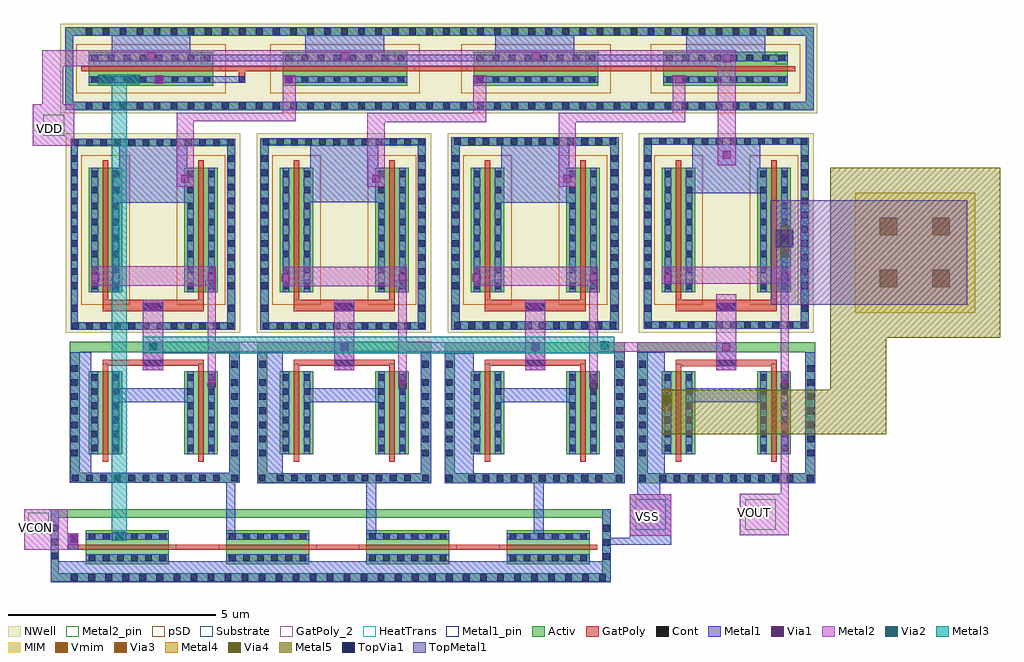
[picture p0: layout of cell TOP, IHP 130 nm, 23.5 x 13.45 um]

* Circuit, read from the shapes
.subckt TOP VCON VDD VOUT VSS
XM1 n1 VCON VSS VSS sg13_lv_nmos w=2u l=0.13u
XM2 n2 n3 VSS VSS sg13_lv_nmos w=2u l=0.13u
XM3 n4 n3 n2 VSS sg13_lv_nmos w=2u l=0.13u
XM4 VSS VCON VSS VSS sg13_lv_nmos w=2u l=0.13u m=3
XM5 n5 n4 VSS VSS sg13_lv_nmos w=2u l=0.13u
XM6 n6 n4 n5 VSS sg13_lv_nmos w=2u l=0.13u
XM7 n7 n6 VSS VSS sg13_lv_nmos w=2u l=0.13u
XM8 n3 n6 n7 VSS sg13_lv_nmos w=2u l=0.13u
XM9 n8 n3 VSS VSS sg13_lv_nmos w=2u l=0.13u
XM10 VOUT n3 n8 VSS sg13_lv_nmos w=2u l=0.13u
XM11 VDD n1 n1 VDD sg13_lv_pmos w=3u l=0.13u
XM12 n9 n3 n4 n9 sg13_lv_pmos w=3u l=0.13u m=2
XM13 VDD n1 n9 VDD sg13_lv_pmos w=3u l=0.13u
XM14 n10 n4 n6 n10 sg13_lv_pmos w=3u l=0.13u m=2
XM15 VDD n1 n10 VDD sg13_lv_pmos w=3u l=0.13u
XM16 n11 n6 n3 n11 sg13_lv_pmos w=3u l=0.13u m=2
XM17 VDD n1 n11 VDD sg13_lv_pmos w=3u l=0.13u
XM18 VDD n3 VOUT VDD sg13_lv_pmos w=3u l=0.13u m=2
XC19 VOUT VSS cap_cmim w=2.89u l=2.89u
.ends

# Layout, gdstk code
from math import pi, radians
import gdstk
lib = gdstk.Library(unit=1e-6, precision=5e-09)
def R(c, l, rs):  # rectangles x0, y0, x1, y1
    for r in rs: c.add(gdstk.rectangle(r[:2], r[2:], *l))
def A(c, l, x, y, w, h, nx, ny, dx, dy):  # array of equal rectangles
    R(c, l, [(x+i*dx, y+j*dy, x+i*dx+w, y+j*dy+h) for i in range(nx) for j in range(ny)])
def P(c, l, *ps):  # polygons
    for p in ps: c.add(gdstk.Polygon(p, *l))
Activ = (1, 0)
GatPoly = (5, 0)
GatPoly_2 = (5, 2)
Cont = (6, 0)
Metal1 = (8, 0)
Metal1_pin = (8, 2)
Metal2 = (10, 0)
Metal2_pin = (10, 2)
pSD = (14, 0)
Via1 = (19, 0)
Via2 = (29, 0)
Metal3 = (30, 0)
NWell = (31, 0)
MIM = (36, 0)
Substrate = (40, 0)
Via3 = (49, 0)
Metal4 = (50, 0)
HeatTrans = (51, 0)
Via4 = (66, 0)
Metal5 = (67, 0)
TopVia1 = (125, 0)
TopMetal1 = (126, 0)
Vmim = (129, 0)

pmos_1 = lib.new_cell('pmos$1')
R(pmos_1, Activ, [(0,0,0.3,0.3), (0,0,0.81,3), (0.51,0,0.81,0.3)])
R(pmos_1, GatPoly, [(0.34,-0.18,0.47,3.18), (0.34,-0.18,0.47,3.18)])
A(pmos_1, Cont, 0.07, 0.07, 0.16, 0.16, 1, 7, 0, 0.385)
A(pmos_1, Cont, 0.58, 0.07, 0.16, 0.16, 1, 7, 0, 0.385)
R(pmos_1, Cont, [(0.07,2.77,0.23,2.93), (0.58,2.77,0.74,2.93)])
R(pmos_1, Metal1, [(0.07,0,0.23,3), (0.07,0,0.23,3), (0.58,0,0.74,3), (0.58,0,0.74,3)])
R(pmos_1, pSD, [(-0.18,-0.3,0.99,3.3)])
R(pmos_1, NWell, [(-0.31,-0.31,1.12,3.31)])
R(pmos_1, Substrate, [(0.51,0,0.81,0.3)])
R(pmos_1, HeatTrans, [(0.34,-0.18,0.47,3.18)])
pmos_1.add(gdstk.Label('pmos', (0.405,1.5), layer=63, texttype=0))
pmos_1.add(gdstk.Label('pmos', (0.405,1.5), layer=51, texttype=0))

nmos_1 = lib.new_cell('nmos$1')
R(nmos_1, Activ, [(0,0,0.3,0.3), (0,0,0.81,2), (0.51,0,0.81,0.3)])
R(nmos_1, GatPoly, [(0.34,-0.18,0.47,2.18)])
R(nmos_1, GatPoly_2, [(0.34,-0.18,0.47,2.18)])
A(nmos_1, Cont, 0.07, 0.07, 0.16, 0.16, 1, 6, 0, 0.34)
A(nmos_1, Cont, 0.58, 0.07, 0.16, 0.16, 1, 6, 0, 0.34)
R(nmos_1, Metal1, [(0.07,0,0.23,2), (0.58,0,0.74,2)])
R(nmos_1, Metal1_pin, [(0.07,0,0.23,2), (0.58,0,0.74,2)])
R(nmos_1, HeatTrans, [(0.34,-0.18,0.47,2.18)])
nmos_1.add(gdstk.Label('nmos', (0.405,1), layer=63, texttype=0))
nmos_1.add(gdstk.Label('nmos', (0.405,1), layer=51, texttype=0))

cmim_1 = lib.new_cell('cmim$1')
R(cmim_1, MIM, [(0,0,2.89,2.89)])
R(cmim_1, Metal5, [(-0.6,-0.6,3.49,3.49)])
R(cmim_1, TopMetal1, [(0.18,0.18,2.7,2.7)])
R(cmim_1, Vmim, [(0.6,0.6,1.02,1.02), (1.86,0.6,2.28,1.02), (0.6,1.86,1.02,2.28), (1.86,1.86,2.28,2.28)])

top = lib.new_cell('TOP')
R(top, Activ, [(-0.785,-1.205,12.7,-0.99), (-0.785,-0.99,-0.585,0.55), (12.5,-0.99,12.7,0.55), (-0.585,0.35,12.5,0.55), (8.7,1.175,8.945,4.575), (8.945,1.175,13.035,1.42), (13.345,1.18,17.63,1.425), (4.19,1.185,8.375,1.425), (-0.325,1.19,3.765,1.435), (12.79,1.42,13.035,4.35), (4.19,1.425,4.435,4.345), (8.13,1.425,8.375,4.345), (13.345,1.425,13.59,4.34), (17.385,1.425,17.63,4.34), (-0.325,1.435,-0.08,4.34), (3.515,1.435,3.765,4.345), (8.945,4.305,13.035,4.575), (-0.325,4.34,3.765,4.585), (13.345,4.34,17.63,4.58), (4.19,4.345,8.375,4.585), (-0.295,4.88,-0.125,9.475), (-0.125,4.88,3.495,5.05), (3.47,4.88,3.66,9.3), (4.26,4.88,4.465,9.48), (4.465,4.88,8.05,5.055), (8.05,4.88,8.25,9.33), (8.86,4.88,9.07,9.51), (9.07,4.88,12.895,5.085), (13.5,4.9,13.69,9.5), (13.69,4.9,17.28,5.075), (17.28,4.9,17.465,9.325), (12.69,5.085,12.895,9.31), (-0.135,9.3,3.66,9.475), (4.465,9.305,8.245,9.48), (9.07,9.31,12.895,9.51), (13.67,9.325,17.465,9.5), (17.395,10.165,17.595,12.155), (-0.435,10.17,-0.235,11.955), (-0.235,10.17,17.395,10.37), (-0.435,11.955,17.395,12.155)])
A(top, GatPoly, 0.47, 4.005, 2.43, 0.15, 3, 1, 4.6, 0)
A(top, GatPoly, 0.47, 5.325, 2.43, 0.275, 4, 1, 4.6, 0)
R(top, GatPoly, [(-0.37,-0.425,-0.115,-0.02), (2.245,-0.425,3.26,-0.295), (5.62,-0.425,6.635,-0.295), (8.995,-0.425,10.015,-0.295), (14.27,4,16.7,4.155), (3.75,10.825,3.9,11.095), (3.31,11.095,4.62,11.225), (7.98,11.095,9.22,11.225), (12.58,11.095,13.79,11.225)])
A(top, Cont, 0.125, -1.165, 0.16, 0.16, 31, 1, 0.41, 0)
A(top, Cont, 9.275, 1.22, 0.16, 0.16, 10, 1, 0.34, 0)
A(top, Cont, 13.875, 1.22, 0.16, 0.16, 10, 1, 0.34, 0)
A(top, Cont, -0.27, 1.225, 0.16, 0.16, 11, 1, 0.34, 0)
A(top, Cont, 4.665, 1.23, 0.16, 0.16, 10, 1, 0.34, 0)
A(top, Cont, -0.29, 1.825, 0.16, 0.16, 1, 7, 0, 0.34)
A(top, Cont, 3.56, 1.825, 0.16, 0.16, 1, 6, 0, 0.34)
A(top, Cont, 8.74, 1.825, 0.16, 0.16, 1, 6, 0, 0.34)
A(top, Cont, 12.84, 1.825, 0.16, 0.16, 1, 6, 0, 0.34)
A(top, Cont, 1.44, 4, 0.49, 0.155, 4, 1, 4.6, 0)
A(top, Cont, -0.27, 4.885, 0.16, 0.16, 12, 2, 0.34, 4.425)
A(top, Cont, 4.325, 4.89, 0.16, 0.16, 11, 1, 0.34, 0)
A(top, Cont, 8.935, 4.905, 0.16, 0.16, 12, 2, 0.34, 4.425)
A(top, Cont, 13.875, 4.905, 0.16, 0.16, 11, 1, 0.34, 0)
A(top, Cont, 1.44, 5.325, 0.49, 0.2, 4, 1, 4.6, 0)
A(top, Cont, -0.29, 5.855, 0.16, 0.16, 1, 10, 0, 0.34)
A(top, Cont, 3.485, 5.855, 0.16, 0.16, 1, 10, 0, 0.34)
A(top, Cont, 8.89, 5.855, 0.16, 0.16, 1, 10, 0, 0.34)
A(top, Cont, 12.715, 5.855, 0.16, 0.16, 1, 10, 0, 0.34)
A(top, Cont, 4.325, 9.315, 0.16, 0.16, 12, 1, 0.34, 0)
A(top, Cont, 13.535, 9.33, 0.16, 0.16, 12, 1, 0.34, 0)
A(top, Cont, 0.06, 10.2, 0.16, 0.16, 42, 2, 0.41, 1.775)
R(top, Cont, [(-0.295,-1.17,-0.135,-1.01), (12.52,-0.665,12.68,-0.505), (12.52,-0.665,12.68,-0.505), (-0.765,-0.655,-0.605,-0.495), (-0.765,-0.655,-0.605,-0.495), (12.52,-0.325,12.68,-0.165), (12.52,-0.325,12.68,-0.165), (-0.765,-0.315,-0.605,-0.155), (-0.765,-0.315,-0.605,-0.155), (-0.315,-0.255,-0.125,-0.065), (12.52,0.015,12.68,0.175), (12.52,0.015,12.68,0.175), (-0.765,0.025,-0.605,0.185), (-0.765,0.025,-0.605,0.185), (8.735,1.22,8.895,1.38), (12.825,1.22,12.985,1.38), (13.385,1.22,13.545,1.38), (17.425,1.22,17.585,1.38), (3.57,1.225,3.73,1.385), (4.225,1.23,4.385,1.39), (8.165,1.23,8.325,1.39), (4.235,1.825,4.395,1.985), (4.235,1.825,4.395,1.985), (8.16,1.825,8.32,1.985), (8.16,1.825,8.32,1.985), (13.39,1.825,13.55,1.985), (13.39,1.825,13.55,1.985), (17.44,1.825,17.6,1.985), (17.44,1.825,17.6,1.985), (4.235,2.165,4.395,2.325), (4.235,2.165,4.395,2.325), (8.16,2.165,8.32,2.325), (8.16,2.165,8.32,2.325), (13.39,2.165,13.55,2.325), (13.39,2.165,13.55,2.325), (17.44,2.165,17.6,2.325), (17.44,2.165,17.6,2.325), (4.235,2.505,4.395,2.665), (4.235,2.505,4.395,2.665), (8.16,2.505,8.32,2.665), (8.16,2.505,8.32,2.665), (13.39,2.505,13.55,2.665), (13.39,2.505,13.55,2.665), (17.44,2.505,17.6,2.665), (17.44,2.505,17.6,2.665), (4.235,2.845,4.395,3.005), (4.235,2.845,4.395,3.005), (8.16,2.845,8.32,3.005), (8.16,2.845,8.32,3.005), (13.39,2.845,13.55,3.005), (13.39,2.845,13.55,3.005), (17.44,2.845,17.6,3.005), (17.44,2.845,17.6,3.005), (4.235,3.185,4.395,3.345), (4.235,3.185,4.395,3.345), (8.16,3.185,8.32,3.345), (8.16,3.185,8.32,3.345), (13.39,3.185,13.55,3.345), (13.39,3.185,13.55,3.345), (17.44,3.185,17.6,3.345), (17.44,3.185,17.6,3.345), (4.235,3.525,4.395,3.685), (4.235,3.525,4.395,3.685), (8.16,3.525,8.32,3.685), (8.16,3.525,8.32,3.685), (13.39,3.525,13.55,3.685), (13.39,3.525,13.55,3.685), (17.44,3.525,17.6,3.685), (17.44,3.525,17.6,3.685), (17.44,3.865,17.6,4.025), (17.44,3.865,17.6,4.025), (3.56,3.965,3.72,4.125), (4.235,3.965,4.395,4.125), (4.235,3.965,4.395,4.125), (8.16,3.965,8.32,4.125), (8.16,3.965,8.32,4.125), (8.74,3.965,8.9,4.125), (12.84,3.965,13,4.125), (13.39,3.965,13.55,4.125), (13.39,3.965,13.55,4.125), (8.065,4.89,8.23,5.05), (13.535,4.905,13.695,5.07), (-0.29,5.315,-0.13,5.475), (3.485,5.315,3.645,5.475), (4.285,5.315,4.445,5.475), (4.285,5.315,4.445,5.475), (8.06,5.315,8.22,5.475), (8.06,5.315,8.22,5.475), (8.89,5.315,9.05,5.475), (12.715,5.315,12.875,5.475), (13.515,5.315,13.675,5.475), (13.515,5.315,13.675,5.475), (17.29,5.315,17.45,5.475), (17.29,5.315,17.45,5.475), (4.285,5.855,4.445,6.015), (4.285,5.855,4.445,6.015), (8.06,5.855,8.22,6.015), (8.06,5.855,8.22,6.015), (13.515,5.855,13.675,6.015), (13.515,5.855,13.675,6.015), (17.29,5.855,17.45,6.015), (17.29,5.855,17.45,6.015), (4.285,6.195,4.445,6.355), (4.285,6.195,4.445,6.355), (8.06,6.195,8.22,6.355), (8.06,6.195,8.22,6.355), (13.515,6.195,13.675,6.355), (13.515,6.195,13.675,6.355), (17.29,6.195,17.45,6.355), (17.29,6.195,17.45,6.355), (4.285,6.535,4.445,6.695), (4.285,6.535,4.445,6.695), (8.06,6.535,8.22,6.695), (8.06,6.535,8.22,6.695), (13.515,6.535,13.675,6.695), (13.515,6.535,13.675,6.695), (17.29,6.535,17.45,6.695), (17.29,6.535,17.45,6.695), (4.285,6.875,4.445,7.035), (4.285,6.875,4.445,7.035), (8.06,6.875,8.22,7.035), (8.06,6.875,8.22,7.035), (13.515,6.875,13.675,7.035), (13.515,6.875,13.675,7.035), (17.29,6.875,17.45,7.035), (17.29,6.875,17.45,7.035), (4.285,7.215,4.445,7.375), (4.285,7.215,4.445,7.375), (8.06,7.215,8.22,7.375), (8.06,7.215,8.22,7.375), (13.515,7.215,13.675,7.375), (13.515,7.215,13.675,7.375), (17.29,7.215,17.45,7.375), (17.29,7.215,17.45,7.375), (4.285,7.555,4.445,7.715), (4.285,7.555,4.445,7.715), (8.06,7.555,8.22,7.715), (8.06,7.555,8.22,7.715), (13.515,7.555,13.675,7.715), (13.515,7.555,13.675,7.715), (17.29,7.555,17.45,7.715), (17.29,7.555,17.45,7.715), (4.285,7.895,4.445,8.055), (4.285,7.895,4.445,8.055), (8.06,7.895,8.22,8.055), (8.06,7.895,8.22,8.055), (13.515,7.895,13.675,8.055), (13.515,7.895,13.675,8.055), (17.29,7.895,17.45,8.055), (17.29,7.895,17.45,8.055), (4.285,8.235,4.445,8.395), (4.285,8.235,4.445,8.395), (8.06,8.235,8.22,8.395), (8.06,8.235,8.22,8.395), (13.515,8.235,13.675,8.395), (13.515,8.235,13.675,8.395), (17.29,8.235,17.45,8.395), (17.29,8.235,17.45,8.395), (4.285,8.575,4.445,8.735), (4.285,8.575,4.445,8.735), (8.06,8.575,8.22,8.735), (8.06,8.575,8.22,8.735), (13.515,8.575,13.675,8.735), (13.515,8.575,13.675,8.735), (17.29,8.575,17.45,8.735), (17.29,8.575,17.45,8.735), (4.285,8.915,4.445,9.075), (4.285,8.915,4.445,9.075), (8.06,8.915,8.22,9.075), (8.06,8.915,8.22,9.075), (13.515,8.915,13.675,9.075), (13.515,8.915,13.675,9.075), (17.29,8.915,17.45,9.075), (17.29,8.915,17.45,9.075), (3.745,10.825,3.905,10.985)])
A(top, Metal1, 0.87, 3.125, 1.63, 0.34, 4, 1, 4.6, 0)
A(top, Metal1, 1.44, 5.325, 0.49, 0.2, 4, 1, 4.6, 0)
R(top, Metal1, [(-0.785,-1.19,12.7,-0.695), (-0.785,-0.695,-0.585,0.55), (12.5,-0.695,12.7,0.55), (-0.37,-0.425,-0.115,-0.02), (-0.37,-0.425,-0.115,-0.02), (12.7,-0.295,14.165,-0.135), (13.16,-0.135,14.165,0.915), (3.44,-0.025,3.665,1.19), (6.815,-0.025,7.06,1.19), (10.85,-0.025,11.085,1.185), (13.345,0.915,13.9,1.18), (13.345,1.18,17.63,1.425), (8.7,1.185,13.035,1.42), (-0.315,1.19,3.765,1.435), (4.19,1.19,8.375,1.425), (8.7,1.42,9.4,4.305), (12.79,1.42,13.035,4.35), (4.19,1.425,4.8,4.345), (8.13,1.425,8.375,4.345), (13.345,1.425,14,4.34), (17.385,1.425,17.625,4.34), (-0.315,1.435,0.2,4.34), (3.515,1.435,3.765,4.34), (6.04,3.9,6.53,4.585), (10.64,3.9,11.13,4.575), (15.24,3.9,15.73,4.58), (1.44,3.905,1.93,4.585), (-0.29,4.88,-0.125,9.48), (-0.125,4.88,3.66,5.055), (4.26,4.88,4.465,9.49), (4.465,4.88,8.25,5.055), (8.86,4.88,9.07,9.51), (9.07,4.88,12.69,5.085), (12.69,4.88,12.895,9.51), (13.5,4.9,13.69,9.5), (13.69,4.9,17.465,5.075), (17.28,4.9,17.465,9.5), (3.47,5.055,3.66,9.48), (8.05,5.055,8.25,9.49), (0.87,7.935,2.5,9.32), (10.07,7.935,11.7,9.33), (5.47,7.94,7.1,9.33), (14.665,8.16,16.3,9.325), (9.07,9.31,12.69,9.51), (-0.13,9.32,3.49,9.48), (4.465,9.325,8.09,9.49), (13.675,9.325,17.28,9.5), (-0.235,10.165,17.395,10.37), (17.395,10.165,17.595,12.155), (-0.435,10.17,-0.235,11.955), (3.13,10.825,3.9,10.985), (0.685,11.335,2.58,11.955), (3.13,11.335,4.8,11.495), (5.35,11.335,7.245,11.955), (7.8,11.335,9.4,11.495), (9.92,11.335,11.82,11.955), (12.4,11.335,13.97,11.495), (14.525,11.335,16.425,11.955), (-0.435,11.955,17.395,12.155)])
R(top, Metal2, [(-1.425,-0.425,-0.37,0.55), (-0.37,-0.295,-0.115,-0.02), (0.7,-0.2,1.03,0), (13.165,-0.08,14.165,0.92), (15.81,-0.07,16.79,0.925), (16.79,-0.07,16.99,3.305), (13.93,2.925,14.15,3.46), (2.995,3.595,3.195,5.935), (7.59,3.605,7.79,5.92), (16.79,3.605,16.99,5.98), (12.18,3.61,12.385,5.94), (6.04,3.9,6.53,5.6), (10.64,3.9,11.13,5.6), (15.24,3.9,15.73,5.725), (1.44,3.905,1.93,5.6), (3.195,4.345,6.53,4.585), (7.79,4.345,11.13,4.575), (12.385,4.35,15.73,4.58), (4.8,5.92,7.79,6.395), (0.2,5.935,3.195,6.41), (9.4,5.94,12.385,6.395), (13.93,5.98,17.04,6.395), (16.79,6.62,16.99,7.39), (2.255,8.32,2.66,10.1), (6.845,8.32,7.26,9.875), (11.45,8.32,11.86,10.1), (15.28,8.84,15.715,11.6), (-1.21,9.305,-0.21,10.305), (11.86,9.87,14.5,10.1), (6.845,9.875,9.7,10.1), (2.66,9.9,5.12,10.1), (4.8,10.1,5.12,11), (9.395,10.1,9.7,11), (14.2,10.1,14.5,11), (-0.98,10.305,-0.485,11.225), (0.36,10.805,0.59,11.015), (1.145,10.805,1.36,11.015), (1.725,10.805,1.925,11.005), (-0.98,11.225,15.28,11.6)])
R(top, Metal2_pin, [(-1.325,-0.035,-0.825,0.465), (13.3,0.065,14.025,0.79), (15.945,0.065,16.67,0.79), (-0.96,9.55,-0.455,10.05)])
R(top, pSD, [(-0.785,-1.205,12.5,-0.99), (12.5,-1.205,12.7,0.55), (-0.785,-0.99,-0.585,0.55), (-0.585,0.35,12.5,0.55), (8.7,1.175,8.945,4.575), (8.945,1.175,13.035,1.42), (13.345,1.18,17.63,1.425), (4.19,1.185,8.375,1.425), (-0.325,1.19,3.765,1.435), (12.79,1.42,13.035,4.35), (4.19,1.425,4.435,4.345), (8.13,1.425,8.375,4.345), (13.345,1.425,13.59,4.34), (17.385,1.425,17.63,4.34), (-0.325,1.435,-0.08,4.34), (3.515,1.435,3.765,4.345), (8.945,4.305,13.035,4.575), (-0.325,4.34,3.765,4.585), (13.345,4.34,17.63,4.58), (4.19,4.345,8.375,4.585)])
A(top, Via1, 7.595, 3.46, 0.19, 0.19, 3, 1, 4.6, 0)
A(top, Via1, 6.19, 4.36, 0.19, 0.19, 3, 1, 4.6, 0)
A(top, Via1, 1.59, 5.33, 0.19, 0.19, 4, 1, 4.6, 0)
A(top, Via1, 2.36, 8.42, 0.19, 0.19, 3, 1, 4.6, 0)
R(top, Via1, [(-0.315,-0.255,-0.125,-0.065), (0.775,-0.195,0.965,-0.005), (13.555,0.33,13.745,0.52), (16.795,2.44,16.985,2.63), (13.95,3.105,14.14,3.295), (3,3.49,3.19,3.68), (1.59,4.385,1.78,4.575), (0.195,6.03,0.385,6.22), (2.995,6.03,3.185,6.22), (4.785,6.03,4.975,6.22), (7.595,6.03,7.785,6.22), (9.385,6.03,9.575,6.22), (12.195,6.03,12.385,6.22), (13.985,6.03,14.175,6.22), (16.795,6.03,16.985,6.22), (16.79,6.98,16.98,7.17), (15.405,8.995,15.595,9.185), (0.38,10.81,0.57,11), (1.16,10.81,1.35,11), (1.73,10.81,1.92,11), (4.86,10.81,5.05,11), (9.45,10.81,9.64,11), (14.255,10.81,14.445,11), (15.405,11.32,15.595,11.51), (1.54,11.375,1.73,11.565), (6.205,11.375,6.395,11.565), (10.81,11.375,11,11.565)])
R(top, Via2, [(0.775,-0.195,0.965,-0.005), (13.95,3.105,14.14,3.295), (1.59,4.385,1.78,4.575), (12.465,4.41,12.655,4.6), (16.79,6.98,16.98,7.17), (0.38,10.81,0.57,11), (1.16,10.81,1.35,11)])
R(top, Metal3, [(0.69,-0.2,1.045,10.805), (13.93,2.925,14.16,3.46), (1.44,4.305,12.79,4.705), (16.79,6.62,16.99,7.39), (0.36,10.805,1.36,11.015)])
P(top, Metal3, [(14,3.46),(14,3.46),(14,3.46),(14,3.46)])
R(top, NWell, [(-0.425,4.8,3.785,9.605), (4.175,4.8,8.385,9.61), (8.78,4.805,12.99,9.605), (13.38,4.805,17.59,9.605), (-0.55,10.085,17.675,12.245)])
R(top, Via3, [(13.95,3.105,14.14,3.295), (16.795,6.98,16.985,7.17)])
R(top, Metal4, [(13.98,2.925,14.18,3.46), (16.785,6.62,16.985,7.39)])
R(top, Via4, [(13.95,3.105,14.14,3.295), (16.785,6.98,16.975,7.17)])
R(top, Metal5, [(13.94,2.365,19.335,3.435), (17.985,3.435,19.335,4.685), (16.79,6.62,16.99,7.39)])
R(top, TopVia1, [(16.675,6.865,17.095,7.285)])
R(top, TopMetal1, [(16.55,5.475,18.765,7.995)])
top.add(gdstk.Reference(pmos_1, (0.13,5.78)))
top.add(gdstk.Reference(pmos_1, (2.43,5.78)))
top.add(gdstk.Reference(pmos_1, (4.73,5.78)))
top.add(gdstk.Reference(pmos_1, (7.03,5.78)))
top.add(gdstk.Reference(pmos_1, (9.33,5.78)))
top.add(gdstk.Reference(pmos_1, (11.63,5.78)))
top.add(gdstk.Reference(pmos_1, (13.93,5.78)))
top.add(gdstk.Reference(pmos_1, (16.23,5.78)))
top.add(gdstk.Reference(pmos_1, (16.97,10.755), rotation=pi/2))
top.add(gdstk.Reference(pmos_1, (3.13,10.755), rotation=pi/2))
top.add(gdstk.Reference(pmos_1, (7.8,10.755), rotation=pi/2))
top.add(gdstk.Reference(pmos_1, (12.4,10.755), rotation=pi/2))
top.add(gdstk.Reference(nmos_1, (2.065,-0.765), rotation=pi/2))
top.add(gdstk.Reference(nmos_1, (5.44,-0.765), rotation=pi/2))
top.add(gdstk.Reference(nmos_1, (8.815,-0.765), rotation=pi/2))
top.add(gdstk.Reference(nmos_1, (12.195,-0.765), rotation=pi/2))
top.add(gdstk.Reference(nmos_1, (16.23,1.875)))
top.add(gdstk.Reference(nmos_1, (13.93,1.875)))
top.add(gdstk.Reference(nmos_1, (11.63,1.875)))
top.add(gdstk.Reference(nmos_1, (9.33,1.875)))
top.add(gdstk.Reference(nmos_1, (7.03,1.875)))
top.add(gdstk.Reference(nmos_1, (4.73,1.875)))
top.add(gdstk.Reference(nmos_1, (2.43,1.875)))
top.add(gdstk.Reference(nmos_1, (0.13,1.875)))
top.add(gdstk.Reference(cmim_1, (18.585,8.175), rotation=3*pi/2))
top.add(gdstk.Label('VDD', (-0.815,9.725), layer=10, texttype=2))
top.add(gdstk.Label('VOUT', (16.17,0.485), layer=10, texttype=2))
top.add(gdstk.Label('VSS', (13.58,0.37), layer=10, texttype=2))
top.add(gdstk.Label('VCON', (-1.15,0.105), layer=10, texttype=2))

lib.write_gds('TOP.gds')
